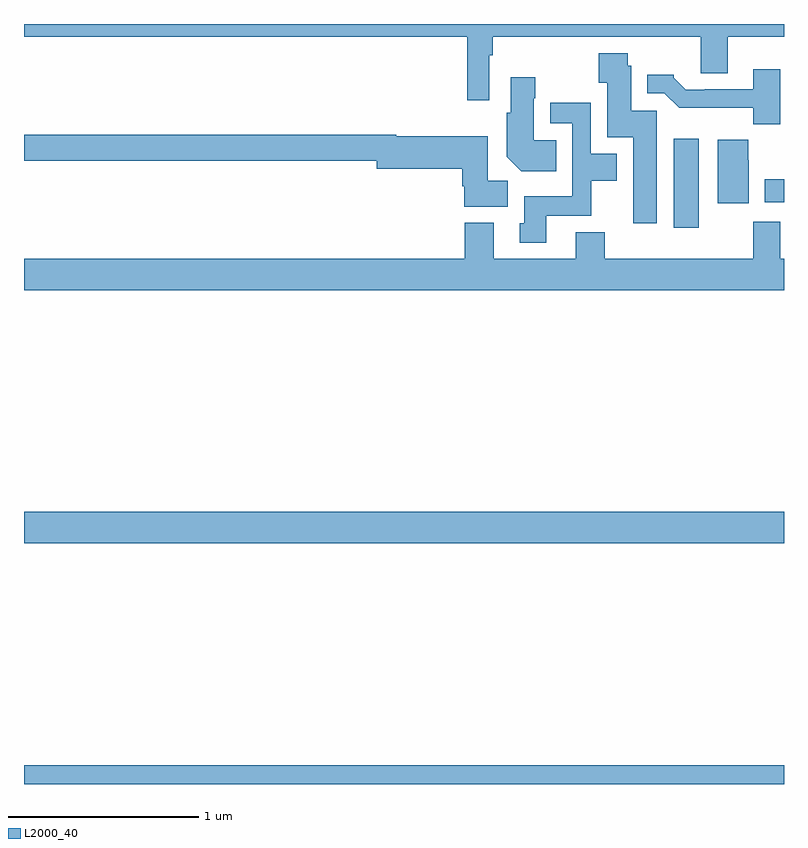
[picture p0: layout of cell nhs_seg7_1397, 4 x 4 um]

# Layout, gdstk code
import gdstk
lib = gdstk.Library(unit=1e-6, precision=1e-09)
def R(c, l, rs):  # rectangles x0, y0, x1, y1
    for r in rs: c.add(gdstk.rectangle(r[:2], r[2:], *l))
def P(c, l, *ps):  # polygons
    for p in ps: c.add(gdstk.Polygon(p, *l))
L2000_40 = (2000, 40)

nhs_seg7_1397 = lib.new_cell('nhs_seg7_1397')
R(nhs_seg7_1397, L2000_40, [(207,1014,211,1014.1), (207,1015.268,211,1015.432), (210.419,1016.928,210.55,1017.397), (210.899,1017.062,211,1017.184)])
P(nhs_seg7_1397, L2000_40, [(209.448,1017.836),(209.468,1017.836),(209.468,1017.932),(210.563,1017.932),(210.563,1017.742),(210.703,1017.742),(210.703,1017.932),(211,1017.932),(211,1018),(207,1018),(207,1017.932),(209.332,1017.932),(209.332,1017.6),(209.448,1017.6)],
  [(210.331,1017.543),(210.196,1017.543),(210.196,1017.78),(210.177,1017.78),(210.177,1017.847),(210.025,1017.847),(210.025,1017.691),(210.071,1017.691),(210.071,1017.404),(210.206,1017.404),(210.206,1016.952),(210.331,1016.952)],
  [(210.979,1017.763),(210.839,1017.763),(210.839,1017.657),(210.583,1017.657),(210.583,1017.654),(210.484,1017.654),(210.42,1017.718),(210.42,1017.733),(210.281,1017.733),(210.281,1017.636),(210.369,1017.636),(210.448,1017.558),(210.837,1017.558),(210.837,1017.473),(210.979,1017.473)],
  [(209.801,1017.388),(209.683,1017.388),(209.683,1017.608),(209.691,1017.608),(209.691,1017.721),(209.561,1017.721),(209.561,1017.534),(209.54,1017.534),(209.54,1017.302),(209.618,1017.224),(209.801,1017.224)],
  [(209.749,1016.99),(209.985,1016.99),(209.985,1017.176),(210.121,1017.176),(210.121,1017.316),(209.982,1017.316),(209.982,1017.586),(209.769,1017.586),(209.769,1017.477),(209.886,1017.477),(209.886,1017.094),(209.633,1017.094),(209.633,1016.952),(209.609,1016.952),(209.609,1016.85),(209.749,1016.85)],
  [(209.545,1017.176),(209.44,1017.176),(209.44,1017.41),(208.96,1017.41),(208.96,1017.416),(207,1017.416),(207,1017.28),(208.856,1017.28),(208.856,1017.238),(209.306,1017.238),(209.306,1017.146),(209.318,1017.146),(209.318,1017.038),(209.545,1017.038)],
  [(210.814,1017.284),(210.812,1017.284),(210.812,1017.391),(210.65,1017.391),(210.65,1017.057),(210.814,1017.057)],
  [(209.903,1016.905),(209.903,1016.764),(209.473,1016.764),(209.473,1016.953),(209.321,1016.953),(209.321,1016.764),(207,1016.764),(207,1016.6),(211,1016.6),(211,1016.764),(210.979,1016.764),(210.979,1016.959),(210.839,1016.959),(210.839,1016.764),(210.056,1016.764),(210.056,1016.905)])

lib.write_gds('nhs_seg7_1397.gds')
